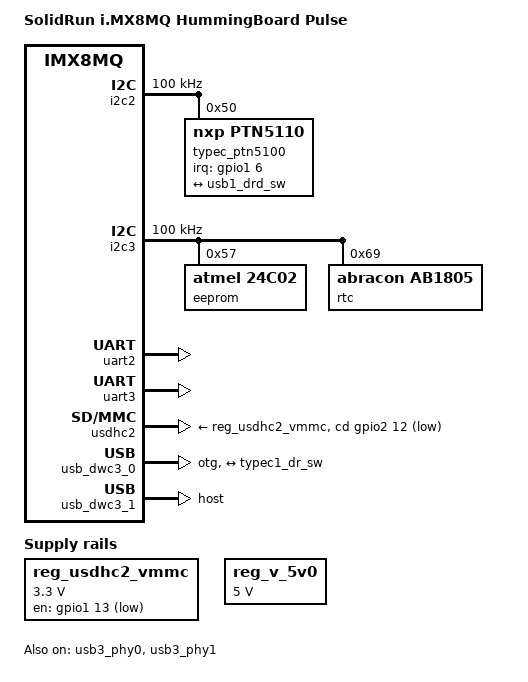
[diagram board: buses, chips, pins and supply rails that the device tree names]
// SPDX-License-Identifier: (GPL-2.0 OR MIT)
/*
 * Copyright (C) 2018 Jon Nettleton <jon@solid-run.com>
 */

/dts-v1/;

#include "dt-bindings/usb/pd.h"
#include "imx8mq-sr-som.dtsi"

/ {
	model = "SolidRun i.MX8MQ HummingBoard Pulse";
	compatible = "solidrun,hummingboard-pulse", "fsl,imx8mq";

	chosen {
		stdout-path = &uart1;
	};

	reg_usdhc2_vmmc: regulator-usdhc2-vmmc {
		compatible = "regulator-fixed";
		pinctrl-names = "default";
		pinctrl-0 = <&pinctrl_usdhc2_vmmc>;
		regulator-name = "VSD_3V3";
		regulator-min-microvolt = <3300000>;
		regulator-max-microvolt = <3300000>;
		gpio = <&gpio1 13 GPIO_ACTIVE_LOW>;
	};

	reg_v_5v0: regulator-v-5v0 {
		compatible = "regulator-fixed";
		regulator-name = "v_5v0";
		regulator-max-microvolt = <5000000>;
		regulator-min-microvolt = <5000000>;
		regulator-always-on;
	};
};

&i2c2 {
	pinctrl-names = "default";
	pinctrl-0 = <&pinctrl_i2c2>;
	clock-frequency = <100000>;
	status = "okay";

	typec_ptn5100: usb-typec@50 {
		compatible = "nxp,ptn5110";
		reg = <0x50>;
		pinctrl-names = "default";
		pinctrl-0 = <&pinctrl_typec>;
		interrupt-parent = <&gpio1>;
		interrupts = <6 IRQ_TYPE_LEVEL_LOW>;

		connector {
			compatible = "usb-c-connector";
			label = "USB-C";
			data-role = "dual";
			power-role = "dual";
			try-power-role = "sink";
			source-pdos = <PDO_FIXED(5000, 2000,
						 PDO_FIXED_USB_COMM |
						 PDO_FIXED_SUSPEND |
						 PDO_FIXED_EXTPOWER)>;
			sink-pdos = <PDO_FIXED(5000, 2000,
					       PDO_FIXED_USB_COMM |
					       PDO_FIXED_SUSPEND |
					       PDO_FIXED_EXTPOWER)
				     PDO_FIXED(9000, 2000,
					       PDO_FIXED_USB_COMM |
					       PDO_FIXED_SUSPEND |
					       PDO_FIXED_EXTPOWER)>;
			op-sink-microwatt = <9000000>;

			port {
				typec1_dr_sw: endpoint {
					remote-endpoint = <&usb1_drd_sw>;
				};
			};
		};
	};
};

&i2c3 {
	pinctrl-names = "default";
	pinctrl-0 = <&pinctrl_i2c3>;
	clock-frequency = <100000>;
	status = "okay";

	eeprom@57 {
		compatible = "atmel,24c02";
		reg = <0x57>;
		status = "okay";
	};

	rtc@69 {
		compatible = "abracon,ab1805";
		reg = <0x69>;
		abracon,tc-diode = "schottky";
		abracon,tc-resistor = <3>;
	};
};

&uart2 { /* J35 header */
	pinctrl-names = "default";
	pinctrl-0 = <&pinctrl_uart2>;
	assigned-clocks = <&clk IMX8MQ_CLK_UART2>;
	assigned-clock-parents = <&clk IMX8MQ_CLK_25M>;
	status = "okay";
};

&uart3 { /* Mikrobus */
	pinctrl-names = "default";
	pinctrl-0 = <&pinctrl_uart3>;
	assigned-clocks = <&clk IMX8MQ_CLK_UART3>;
	assigned-clock-parents = <&clk IMX8MQ_SYS1_PLL_80M>;
	uart-has-rtscts;
	status = "okay";
};

&usdhc2 {
	assigned-clocks = <&clk IMX8MQ_CLK_USDHC2>;
	assigned-clock-rates = <200000000>;
	pinctrl-names = "default", "state_100mhz", "state_200mhz";
	pinctrl-0 = <&pinctrl_usdhc2>, <&pinctrl_usdhc2_gpio>;
	pinctrl-1 = <&pinctrl_usdhc2_100mhz>, <&pinctrl_usdhc2_gpio>;
	pinctrl-2 = <&pinctrl_usdhc2_200mhz>, <&pinctrl_usdhc2_gpio>;
	cd-gpios = <&gpio2 12 GPIO_ACTIVE_LOW>;
	vmmc-supply = <&reg_usdhc2_vmmc>;
	status = "okay";
};

&usb_dwc3_0 {
	dr_mode = "otg";
	status = "okay";

	port {
		usb1_drd_sw: endpoint {
			remote-endpoint = <&typec1_dr_sw>;
		};
	};
};

&usb_dwc3_1 {
	dr_mode = "host";
	status = "okay";
};

&usb3_phy0 {
	status = "okay";
};

&usb3_phy1 {
	status = "okay";
};

&iomuxc {
	pinctrl-names = "default";
	pinctrl-0 = <&pinctrl_hog>;

	pinctrl_hog: hoggrp {
		fsl,pins = <
			/* MikroBus Analog */
			MX8MQ_IOMUXC_NAND_DATA05_GPIO3_IO11		0x41
			/* MikroBus Reset */
			MX8MQ_IOMUXC_SAI2_RXD0_GPIO4_IO23		0x41
			/*
			 * The following 2 pins need to be commented out and
			 * reconfigured to enable RTS/CTS on UART3
			 */
			/* MikroBus PWM */
			MX8MQ_IOMUXC_ECSPI1_MISO_GPIO5_IO8		0x41
			/* MikroBus INT */
			MX8MQ_IOMUXC_ECSPI1_SS0_GPIO5_IO9		0x41
		>;
	};

	pinctrl_i2c2: i2c2grp {
		fsl,pins = <
			MX8MQ_IOMUXC_I2C2_SCL_I2C2_SCL		0x4000007f
			MX8MQ_IOMUXC_I2C2_SDA_I2C2_SDA		0x4000007f
		>;
	};

	pinctrl_i2c3: i2c3grp {
		fsl,pins = <
			MX8MQ_IOMUXC_I2C3_SCL_I2C3_SCL		0x4000007f
			MX8MQ_IOMUXC_I2C3_SDA_I2C3_SDA		0x4000007f
		>;
	};

	pinctrl_typec: typecgrp {
		fsl,pins = <
			MX8MQ_IOMUXC_NAND_RE_B_GPIO3_IO15	0x16
			MX8MQ_IOMUXC_GPIO1_IO06_GPIO1_IO6	0x17059
		>;
	};

	pinctrl_uart2: uart2grp {
		fsl,pins = <
			MX8MQ_IOMUXC_UART2_TXD_UART2_DCE_TX		0x49
			MX8MQ_IOMUXC_UART2_RXD_UART2_DCE_RX		0x49
		>;
	};

	pinctrl_uart3: uart3grp {
		fsl,pins = <
			MX8MQ_IOMUXC_UART3_TXD_UART3_DCE_TX		0x49
			MX8MQ_IOMUXC_UART3_RXD_UART3_DCE_RX		0x49
			/*
			 * These pins are by default GPIO on the Mikro Bus
			 * Header. To use RTS/CTS on UART3 comment them out
			 * of the hoggrp and enable them here
			 */
			/* MX8MQ_IOMUXC_ECSPI1_MISO_UART3_DCE_CTS_B	0x49 */
			/* MX8MQ_IOMUXC_ECSPI1_SS0_UART3_DCE_RTS_B	0x49 */
		>;
	};

	pinctrl_usdhc2_gpio: usdhc2grpgpio {
		fsl,pins = <
			MX8MQ_IOMUXC_SD2_CD_B_GPIO2_IO12	0x41
		>;
	};

	pinctrl_usdhc2_vmmc: usdhc2vmmcgpio {
		fsl,pins = <
			MX8MQ_IOMUXC_GPIO1_IO13_GPIO1_IO13	0x41
		>;
	};

	pinctrl_usdhc2: usdhc2grp {
		fsl,pins = <
			MX8MQ_IOMUXC_SD2_CLK_USDHC2_CLK			0x83
			MX8MQ_IOMUXC_SD2_CMD_USDHC2_CMD			0xc3
			MX8MQ_IOMUXC_SD2_DATA0_USDHC2_DATA0		0xc3
			MX8MQ_IOMUXC_SD2_DATA1_USDHC2_DATA1		0xc3
			MX8MQ_IOMUXC_SD2_DATA2_USDHC2_DATA2		0xc3
			MX8MQ_IOMUXC_SD2_DATA3_USDHC2_DATA3		0xc3
			MX8MQ_IOMUXC_GPIO1_IO04_USDHC2_VSELECT		0xc1
		>;
	};

	pinctrl_usdhc2_100mhz: usdhc2grp100mhz {
		fsl,pins = <
			MX8MQ_IOMUXC_SD2_CLK_USDHC2_CLK			0x8d
			MX8MQ_IOMUXC_SD2_CMD_USDHC2_CMD			0xcd
			MX8MQ_IOMUXC_SD2_DATA0_USDHC2_DATA0		0xcd
			MX8MQ_IOMUXC_SD2_DATA1_USDHC2_DATA1		0xcd
			MX8MQ_IOMUXC_SD2_DATA2_USDHC2_DATA2		0xcd
			MX8MQ_IOMUXC_SD2_DATA3_USDHC2_DATA3		0xcd
			MX8MQ_IOMUXC_GPIO1_IO04_USDHC2_VSELECT		0xc1
		>;
	};

	pinctrl_usdhc2_200mhz: usdhc2grp200mhz {
		fsl,pins = <
			MX8MQ_IOMUXC_SD2_CLK_USDHC2_CLK			0x9f
			MX8MQ_IOMUXC_SD2_CMD_USDHC2_CMD			0xdf
			MX8MQ_IOMUXC_SD2_DATA0_USDHC2_DATA0		0xdf
			MX8MQ_IOMUXC_SD2_DATA1_USDHC2_DATA1		0xdf
			MX8MQ_IOMUXC_SD2_DATA2_USDHC2_DATA2		0xdf
			MX8MQ_IOMUXC_SD2_DATA3_USDHC2_DATA3		0xdf
			MX8MQ_IOMUXC_GPIO1_IO04_USDHC2_VSELECT		0xc1
		>;
	};
};
